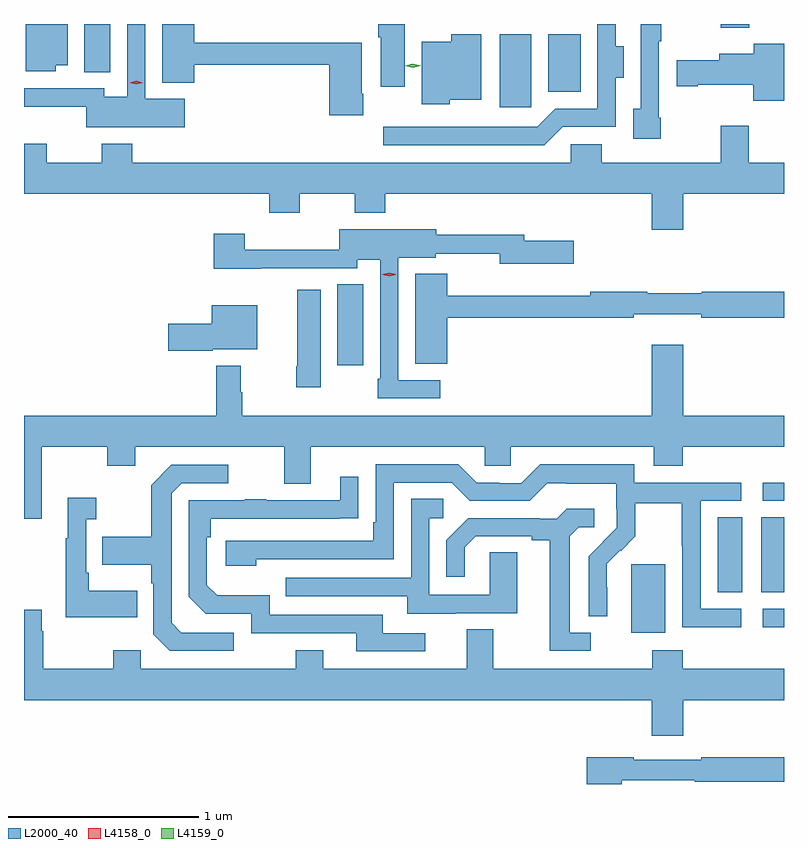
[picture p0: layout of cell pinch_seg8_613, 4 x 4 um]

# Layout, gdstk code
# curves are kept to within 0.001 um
import gdstk
lib = gdstk.Library(unit=1e-6, precision=1e-09)
def R(c, l, rs):  # rectangles x0, y0, x1, y1
    for r in rs: c.add(gdstk.rectangle(r[:2], r[2:], *l))
def P(c, l, *ps):  # polygons
    for p in ps: c.add(gdstk.Polygon(p, *l))
L2000_40 = (2000, 40)
L4158_0 = (4158, 0)
L4159_0 = (4159, 0)

pinch_seg8_613 = lib.new_cell('pinch_seg8_613')
R(pinch_seg8_613, L2000_40, [(212.852,1099.538,213.031,1099.899), (213.543,1099.567,213.655,1099.665), (213.305,1099.75,213.436,1100.147), (213.536,1099.75,213.655,1100.147), (213.543,1100.232,213.655,1100.328), (211.304,1100.946,211.441,1101.371), (212.159,1102.305,212.326,1102.687), (212.414,1102.385,212.584,1102.687), (209.972,1102.489,210.109,1102.742), (213.322,1102.721,213.472,1102.742)])
P(pinch_seg8_613, L2000_40, [(209.821,1102.526),(209.884,1102.526),(209.884,1102.742),(209.663,1102.742),(209.663,1102.493),(209.821,1102.493)],
  [(213.005,1102.249),(212.997,1102.249),(212.997,1102.652),(213.01,1102.652),(213.01,1102.742),(212.901,1102.742),(212.901,1102.297),(212.861,1102.297),(212.861,1102.137),(213.005,1102.137)],
  [(211.44,1102.375),(211.432,1102.375),(211.432,1102.644),(210.55,1102.644),(210.55,1102.742),(210.383,1102.742),(210.383,1102.433),(210.55,1102.433),(210.55,1102.528),(211.262,1102.528),(211.262,1102.263),(211.44,1102.263)],
  [(211.66,1102.742),(211.52,1102.742),(211.52,1102.673),(211.532,1102.673),(211.532,1102.413),(211.66,1102.413)],
  [(210.502,1102.348),(210.294,1102.348),(210.294,1102.742),(210.198,1102.742),(210.198,1102.36),(210.078,1102.36),(210.078,1102.404),(209.655,1102.404),(209.655,1102.307),(209.982,1102.307),(209.982,1102.199),(210.502,1102.199)],
  [(212.49,1102.2),(212.77,1102.2),(212.77,1102.46),(212.812,1102.46),(212.812,1102.624),(212.769,1102.624),(212.769,1102.742),(212.673,1102.742),(212.673,1102.296),(212.451,1102.296),(212.355,1102.2),(211.545,1102.2),(211.545,1102.104),(212.394,1102.104)],
  [(211.896,1102.343),(212.062,1102.343),(212.062,1102.687),(211.904,1102.687),(211.904,1102.648),(211.748,1102.648),(211.748,1102.319),(211.896,1102.319)],
  [(213.655,1102.639),(213.496,1102.639),(213.496,1102.585),(213.314,1102.585),(213.314,1102.551),(213.09,1102.551),(213.09,1102.414),(213.202,1102.414),(213.202,1102.421),(213.494,1102.421),(213.494,1102.338),(213.655,1102.338)],
  [(209.655,1102.111),(209.655,1101.848),(210.947,1101.848),(210.947,1101.749),(211.107,1101.749),(211.107,1101.848),(211.396,1101.848),(211.396,1101.749),(211.556,1101.749),(211.556,1101.848),(212.96,1101.848),(212.96,1101.66),(213.124,1101.66),(213.124,1101.848),(213.655,1101.848),(213.655,1102.012),(213.469,1102.012),(213.469,1102.207),(213.322,1102.207),(213.322,1102.012),(212.696,1102.012),(212.696,1102.11),(212.532,1102.11),(212.532,1102.012),(210.224,1102.012),(210.224,1102.111),(210.064,1102.111),(210.064,1102.012),(209.775,1102.012),(209.775,1102.111)],
  [(211.846,1100.868),(211.626,1100.868),(211.626,1101.512),(211.821,1101.512),(211.821,1101.532),(212.159,1101.532),(212.159,1101.479),(212.548,1101.479),(212.548,1101.601),(212.287,1101.601),(212.287,1101.632),(211.825,1101.632),(211.825,1101.661),(211.314,1101.661),(211.314,1101.554),(210.818,1101.554),(210.818,1101.637),(210.653,1101.637),(210.653,1101.455),(210.901,1101.455),(210.901,1101.456),(211.41,1101.456),(211.41,1101.5),(211.53,1101.5),(211.53,1100.875),(211.518,1100.875),(211.518,1100.772),(211.846,1100.772)],
  [(211.882,1101.196),(212.864,1101.196),(212.864,1101.215),(213.22,1101.215),(213.22,1101.196),(213.655,1101.196),(213.655,1101.332),(213.222,1101.332),(213.222,1101.325),(212.935,1101.325),(212.935,1101.332),(212.635,1101.332),(212.635,1101.313),(211.882,1101.313),(211.882,1101.427),(211.715,1101.427),(211.715,1100.953),(211.882,1100.953)],
  [(211.216,1101.343),(211.094,1101.343),(211.094,1100.941),(211.087,1100.941),(211.087,1100.829),(211.216,1100.829)],
  [(210.648,1101.029),(210.883,1101.029),(210.883,1101.262),(210.644,1101.262),(210.644,1101.164),(210.414,1101.164),(210.414,1101.022),(210.648,1101.022)],
  [(209.655,1100.139),(209.749,1100.139),(209.749,1100.516),(210.094,1100.516),(210.094,1100.417),(210.241,1100.417),(210.241,1100.516),(211.025,1100.516),(211.025,1100.322),(211.165,1100.322),(211.165,1100.516),(212.079,1100.516),(212.079,1100.418),(212.217,1100.418),(212.217,1100.516),(212.969,1100.516),(212.969,1100.417),(213.122,1100.417),(213.122,1100.516),(213.655,1100.516),(213.655,1100.68),(213.124,1100.68),(213.124,1101.055),(212.96,1101.055),(212.96,1100.68),(210.803,1100.68),(210.803,1100.804),(210.796,1100.804),(210.796,1100.944),(210.668,1100.944),(210.668,1100.68),(209.655,1100.68)],
  [(213.43,1099.665),(213.216,1099.665),(213.216,1100.232),(213.43,1100.232),(213.43,1100.328),(212.868,1100.328),(212.868,1100.425),(212.371,1100.425),(212.271,1100.325),(212.156,1100.325),(212.156,1100.328),(212.037,1100.328),(211.941,1100.424),(211.506,1100.424),(211.506,1100.119),(211.493,1100.119),(211.493,1100.022),(210.717,1100.022),(210.717,1099.892),(210.878,1099.892),(210.878,1099.926),(211.602,1099.926),(211.602,1100.328),(211.905,1100.328),(212.001,1100.232),(212.316,1100.232),(212.409,1100.325),(212.509,1100.325),(212.509,1100.321),(212.772,1100.321),(212.772,1100.187),(212.774,1100.187),(212.774,1100.09),(212.628,1099.942),(212.628,1099.624),(212.724,1099.624),(212.723,1099.901),(212.793,1099.971),(212.796,1099.968),(212.873,1100.045),(212.873,1100.22),(213.118,1100.22),(213.118,1099.996),(213.12,1099.996),(213.12,1099.567),(213.43,1099.567)],
  [(210.76,1099.539),(210.483,1099.539),(210.432,1099.59),(210.432,1100.271),(210.486,1100.325),(210.73,1100.325),(210.73,1100.421),(210.429,1100.421),(210.324,1100.315),(210.324,1100.043),(210.067,1100.043),(210.067,1099.895),(210.324,1099.895),(210.324,1099.799),(210.336,1099.799),(210.336,1099.53),(210.423,1099.443),(210.76,1099.443)],
  [(211.768,1099.536),(211.543,1099.536),(211.543,1099.632),(210.948,1099.632),(210.948,1099.735),(210.671,1099.735),(210.618,1099.788),(210.618,1100.042),(210.638,1100.042),(210.638,1100.139),(211.415,1100.14),(211.415,1100.359),(211.319,1100.359),(211.319,1100.235),(210.929,1100.235),(210.929,1100.24),(210.817,1100.24),(210.817,1100.235),(210.522,1100.235),(210.522,1099.728),(210.612,1099.638),(210.852,1099.638),(210.852,1099.536),(211.403,1099.536),(211.403,1099.44),(211.768,1099.44)],
  [(210.251,1099.759),(209.995,1099.759),(209.995,1099.855),(209.982,1099.855),(209.982,1100.135),(210.034,1100.135),(210.034,1100.248),(209.885,1100.248),(209.885,1100.035),(209.874,1100.035),(209.874,1099.619),(210.251,1099.619)],
  [(211.927,1099.641),(212.251,1099.641),(212.251,1099.961),(212.106,1099.961),(212.106,1099.737),(211.788,1099.737),(211.788,1100.142),(211.861,1100.142),(211.861,1100.243),(211.692,1100.243),(211.692,1099.827),(211.033,1099.827),(211.033,1099.731),(211.673,1099.731),(211.673,1099.637),(211.927,1099.637)],
  [(212.638,1099.539),(212.527,1099.539),(212.527,1100.047),(212.574,1100.094),(212.656,1100.094),(212.656,1100.191),(212.512,1100.191),(212.46,1100.139),(212.366,1100.139),(212.366,1100.142),(211.994,1100.142),(211.878,1100.026),(211.878,1099.833),(211.975,1099.833),(211.975,1099.989),(212.032,1100.046),(212.327,1100.046),(212.327,1100.024),(212.423,1100.024),(212.423,1099.443),(212.638,1099.443)],
  [(213.124,1099.184),(213.655,1099.184),(213.655,1099.348),(213.122,1099.348),(213.122,1099.447),(212.962,1099.447),(212.962,1099.348),(212.125,1099.348),(212.125,1099.556),(211.985,1099.556),(211.985,1099.348),(211.231,1099.348),(211.231,1099.447),(211.084,1099.447),(211.084,1099.348),(210.27,1099.348),(210.27,1099.447),(210.124,1099.447),(210.124,1099.348),(209.757,1099.348),(209.757,1099.547),(209.749,1099.547),(209.749,1099.66),(209.655,1099.66),(209.655,1099.184),(212.96,1099.184),(212.96,1098.996),(213.124,1098.996)],
  [(212.801,1098.762),(213.184,1098.762),(213.184,1098.754),(213.655,1098.754),(213.655,1098.883),(213.22,1098.883),(213.22,1098.87),(212.864,1098.87),(212.864,1098.883),(212.618,1098.883),(212.618,1098.742),(212.801,1098.742)])
P(pinch_seg8_613, L4158_0, [(211.578,1101.414),(211.543,1101.423),(211.543,1101.424),(211.543,1101.424),(211.578,1101.434),(211.612,1101.424),(211.612,1101.424),(211.612,1101.423)],
  [(210.245,1102.424),(210.211,1102.434),(210.21,1102.434),(210.211,1102.434),(210.245,1102.444),(210.28,1102.434),(210.28,1102.434),(210.28,1102.434)])
P(pinch_seg8_613, L4159_0, [(211.702,1102.513),(211.661,1102.522),(211.66,1102.523),(211.661,1102.523),(211.702,1102.533),(211.743,1102.523),(211.743,1102.523),(211.743,1102.522)])

lib.write_gds('pinch_seg8_613.gds')
